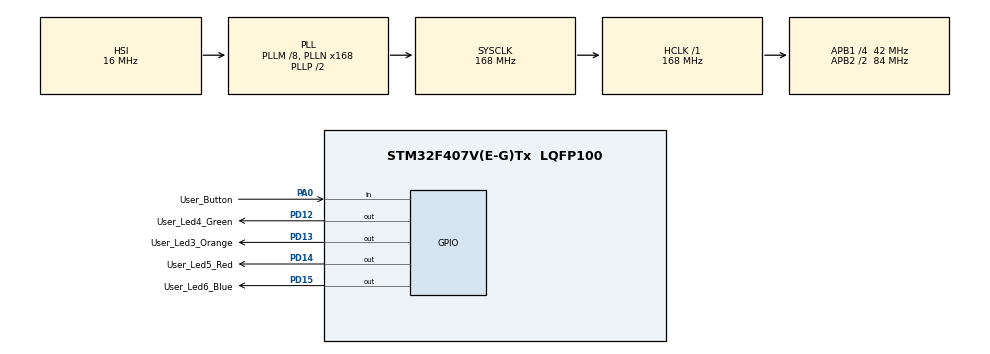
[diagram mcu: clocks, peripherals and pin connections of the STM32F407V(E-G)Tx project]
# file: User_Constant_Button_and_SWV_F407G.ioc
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Mcu.Family=STM32F4
Mcu.Name=STM32F407V(E-G)Tx
Mcu.Package=LQFP100
NVIC.PriorityGroup=NVIC_PRIORITYGROUP_0
PA0-WKUP.GPIO_Label=User_Button
PA0-WKUP.GPIO_PuPd=GPIO_PULLDOWN
PA0-WKUP.Signal=GPIO_Input
PA13.Mode=Serial_Wire
PA13.Signal=SYS_JTMS-SWDIO
PA14.Mode=Serial_Wire
PA14.Signal=SYS_JTCK-SWCLK
PD12.GPIO_Label=User_Led4_Green
PD12.GPIO_Speed=GPIO_SPEED_FREQ_MEDIUM
PD12.Signal=GPIO_Output
PD13.GPIO_Label=User_Led3_Orange
PD13.GPIO_Speed=GPIO_SPEED_FREQ_MEDIUM
PD13.Signal=GPIO_Output
PD14.GPIO_Label=User_Led5_Red
PD14.GPIO_Speed=GPIO_SPEED_FREQ_MEDIUM
PD14.Signal=GPIO_Output
PD15.GPIO_Label=User_Led6_Blue
PD15.GPIO_Speed=GPIO_SPEED_FREQ_MEDIUM
PD15.Signal=GPIO_Output
ProjectManager.HeapSize=0x200
ProjectManager.StackSize=0x400
ProjectManager.TargetToolchain=STM32CubeIDE
RCC.48MHZClocksFreq_Value=48000000
RCC.AHBFreq_Value=168000000
RCC.APB1CLKDivider=RCC_HCLK_DIV4
RCC.APB1Freq_Value=42000000
RCC.APB1TimFreq_Value=84000000
RCC.APB2CLKDivider=RCC_HCLK_DIV2
RCC.APB2Freq_Value=84000000
RCC.APB2TimFreq_Value=168000000
RCC.CortexFreq_Value=168000000
RCC.HCLKFreq_Value=168000000
RCC.HSE_VALUE=8000000
RCC.HSI_VALUE=16000000
RCC.PLLM=8
RCC.PLLN=168
RCC.PLLQ=7
RCC.SYSCLKFreq_VALUE=168000000
RCC.SYSCLKSource=RCC_SYSCLKSOURCE_PLLCLK
RCC.VCOOutputFreq_Value=336000000
board=STM32F407G-DISC1

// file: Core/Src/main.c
/* USER CODE BEGIN Header */
/**
 ******************************************************************************
 * @file           : main.c
 * @brief          : Main program body
 ******************************************************************************
 * @attention
 *
 * Copyright (c) 2025 STMicroelectronics.
 * All rights reserved.
 *
 * This software is licensed under terms that can be found in the LICENSE file
 * in the root directory of this software component.
 * If no LICENSE file comes with this software, it is provided AS-IS.
 *
 ******************************************************************************
 */
/* USER CODE END Header */
#include "main.h"

/* USER CODE BEGIN Includes */
#include "stdio.h"
/* USER CODE END Includes */

/* USER CODE BEGIN PV */
uint16_t button_counter = 0;
//uint16_t leds[] = { User_led3_Orange_Pin, User_Led4_Green_Pin, User_led6_Blue_Pin, User_Led5_Red_Pin };
uint8_t button_state;
uint8_t button_flag = 0;
/* USER CODE END PV */

void SystemClock_Config(void);
static void MX_GPIO_Init(void);

int main(void) {

	/* MCU Configuration--------------------------------------------------------*/

	/* Reset of all peripherals, Initializes the Flash interface and the Systick. */
	HAL_Init();

	/* Configure the system clock */
	SystemClock_Config();

	/* Initialize all configured peripherals */
	MX_GPIO_Init();

	/* Infinite loop */
	while (1) {

		/* USER CODE BEGIN 3 */
		/*for (i = 0; i < 4; i++) {
		 HAL_GPIO_WritePin(User_led3_Orange_GPIO_Port, leds[i], 1);
		 HAL_Delay(50);
		 HAL_GPIO_WritePin(User_led3_Orange_GPIO_Port, leds[i], 0);
		 }

		 for (i = 2; i > 0; i--) {
		 HAL_GPIO_WritePin(User_led3_Orange_GPIO_Port, leds[i], 1);
		 HAL_Delay(50);
		 HAL_GPIO_WritePin(User_led3_Orange_GPIO_Port, leds[i], 0);
		 }

		 HAL_GPIO_WritePin(User_led3_Orange_GPIO_Port, leds[0], 1);
		 HAL_Delay(50);
		 HAL_GPIO_WritePin(User_led3_Orange_GPIO_Port, leds[0], 0);
		 */

		//kalici buton
		button_state = HAL_GPIO_ReadPin(User_Button_GPIO_Port, User_Button_Pin);
		HAL_Delay(200);

		if (button_state) {
			button_counter++;
			if (button_flag == 0) {
				HAL_GPIO_WritePin(User_Led6_Blue_GPIO_Port, User_Led6_Blue_Pin,
						1);
				button_flag = 1;
			} else {
				HAL_GPIO_WritePin(User_Led6_Blue_GPIO_Port, User_Led6_Blue_Pin,
						0);
				button_flag = 0;
			}
		}

		/*
		 if (button_state) {
		 //HAL_GPIO_WritePin(User_led6_Blue_GPIO_Port, User_led6_Blue_Pin, 1);
		 button_counter++;
		 } else {
		 //HAL_GPIO_WritePin(User_led6_Blue_GPIO_Port, User_led6_Blue_Pin, 0);
		 }
		 */

		/*if (button_counter % 4 == 0) {
		 HAL_GPIO_WritePin(User_led3_Orange_GPIO_Port, User_led3_Orange_Pin,
		 1);
		 HAL_GPIO_WritePin(User_Led4_Green_GPIO_Port, User_Led4_Green_Pin,
		 0);
		 HAL_GPIO_WritePin(User_led6_Blue_GPIO_Port, User_led6_Blue_Pin, 0);
		 HAL_GPIO_WritePin(User_Led5_Red_GPIO_Port, User_Led5_Red_Pin, 0);
		 } else if (button_counter % 4 == 1) {
		 HAL_GPIO_WritePin(User_Led4_Green_GPIO_Port, User_Led4_Green_Pin,
		 1);
		 HAL_GPIO_WritePin(User_led3_Orange_GPIO_Port, User_led3_Orange_Pin,
		 1);
		 HAL_GPIO_WritePin(User_led6_Blue_GPIO_Port, User_led6_Blue_Pin, 0);
		 HAL_GPIO_WritePin(User_Led5_Red_GPIO_Port, User_Led5_Red_Pin, 0);
		 } else if (button_counter % 4 == 2) {
		 HAL_GPIO_WritePin(User_led6_Blue_GPIO_Port, User_led6_Blue_Pin, 1);
		 HAL_GPIO_WritePin(User_led3_Orange_GPIO_Port, User_led3_Orange_Pin,
		 1);
		 HAL_GPIO_WritePin(User_Led4_Green_GPIO_Port, User_Led4_Green_Pin,
		 1);
		 HAL_GPIO_WritePin(User_Led5_Red_GPIO_Port, User_Led5_Red_Pin, 0);
		 } else if (button_counter % 4 == 3) {
		 HAL_GPIO_WritePin(User_Led5_Red_GPIO_Port, User_Led5_Red_Pin, 1);
		 HAL_GPIO_WritePin(User_led3_Orange_GPIO_Port, User_led3_Orange_Pin,
		 1);
		 HAL_GPIO_WritePin(User_Led4_Green_GPIO_Port, User_Led4_Green_Pin,
		 1);
		 HAL_GPIO_WritePin(User_led6_Blue_GPIO_Port, User_led6_Blue_Pin, 1);
		 } else {
		 HAL_GPIO_WritePin(User_led3_Orange_GPIO_Port, User_led3_Orange_Pin,
		 0);
		 HAL_GPIO_WritePin(User_Led4_Green_GPIO_Port, User_Led4_Green_Pin,
		 0);
		 HAL_GPIO_WritePin(User_led6_Blue_GPIO_Port, User_led6_Blue_Pin, 0);
		 HAL_GPIO_WritePin(User_Led5_Red_GPIO_Port, User_Led5_Red_Pin, 0);
		 }

		 */

		//serial wire viewer terminalde degiskenleri gorup debug amacli kullanmak
		printf("button_counter:%d \r\n", button_counter);
		printf("button_state:%d \r\n", button_state);
		HAL_Delay(50);
		fflush(stdout);
	}
	/* USER CODE END 3 */
}

void SystemClock_Config(void) {
	RCC_OscInitTypeDef RCC_OscInitStruct = { 0 };
	RCC_ClkInitTypeDef RCC_ClkInitStruct = { 0 };

	/** Configure the main internal regulator output voltage
	 */
	__HAL_RCC_PWR_CLK_ENABLE();
	__HAL_PWR_VOLTAGESCALING_CONFIG(PWR_REGULATOR_VOLTAGE_SCALE1);

	/** Initializes the RCC Oscillators according to the specified parameters
	 * in the RCC_OscInitTypeDef structure.
	 */
	RCC_OscInitStruct.OscillatorType = RCC_OSCILLATORTYPE_HSI;
	RCC_OscInitStruct.HSIState = RCC_HSI_ON;
	RCC_OscInitStruct.HSICalibrationValue = RCC_HSICALIBRATION_DEFAULT;
	RCC_OscInitStruct.PLL.PLLState = RCC_PLL_ON;
	RCC_OscInitStruct.PLL.PLLSource = RCC_PLLSOURCE_HSI;
	RCC_OscInitStruct.PLL.PLLM = 8;
	RCC_OscInitStruct.PLL.PLLN = 168;
	RCC_OscInitStruct.PLL.PLLP = RCC_PLLP_DIV2;
	RCC_OscInitStruct.PLL.PLLQ = 7;
	if (HAL_RCC_OscConfig(&RCC_OscInitStruct) != HAL_OK) {
		Error_Handler();
	}

	/** Initializes the CPU, AHB and APB buses clocks
	 */
	RCC_ClkInitStruct.ClockType = RCC_CLOCKTYPE_HCLK | RCC_CLOCKTYPE_SYSCLK
			| RCC_CLOCKTYPE_PCLK1 | RCC_CLOCKTYPE_PCLK2;
	RCC_ClkInitStruct.SYSCLKSource = RCC_SYSCLKSOURCE_PLLCLK;
	RCC_ClkInitStruct.AHBCLKDivider = RCC_SYSCLK_DIV1;
	RCC_ClkInitStruct.APB1CLKDivider = RCC_HCLK_DIV4;
	RCC_ClkInitStruct.APB2CLKDivider = RCC_HCLK_DIV2;

	if (HAL_RCC_ClockConfig(&RCC_ClkInitStruct, FLASH_LATENCY_5) != HAL_OK) {
		Error_Handler();
	}
}

static void MX_GPIO_Init(void) {
	GPIO_InitTypeDef GPIO_InitStruct = { 0 };

	/* GPIO Ports Clock Enable */
	__HAL_RCC_GPIOA_CLK_ENABLE();
	__HAL_RCC_GPIOD_CLK_ENABLE();

	/*Configure GPIO pin Output Level */
	HAL_GPIO_WritePin(GPIOD,
			User_Led4_Green_Pin | User_Led3_Orange_Pin | User_Led5_Red_Pin
					| User_Led6_Blue_Pin, GPIO_PIN_RESET);

	/*Configure GPIO pin : User_Button_Pin */
	GPIO_InitStruct.Pin = User_Button_Pin;
	GPIO_InitStruct.Mode = GPIO_MODE_INPUT;
	GPIO_InitStruct.Pull = GPIO_PULLDOWN;
	HAL_GPIO_Init(User_Button_GPIO_Port, &GPIO_InitStruct);

	/*Configure GPIO pins : User_Led4_Green_Pin User_Led3_Orange_Pin User_Led5_Red_Pin User_Led6_Blue_Pin */
	GPIO_InitStruct.Pin = User_Led4_Green_Pin | User_Led3_Orange_Pin
			| User_Led5_Red_Pin | User_Led6_Blue_Pin;
	GPIO_InitStruct.Mode = GPIO_MODE_OUTPUT_PP;
	GPIO_InitStruct.Pull = GPIO_NOPULL;
	GPIO_InitStruct.Speed = GPIO_SPEED_FREQ_MEDIUM;
	HAL_GPIO_Init(GPIOD, &GPIO_InitStruct);

}

/* USER CODE BEGIN 4 */
//printf fonksiyonunu kullanabilmek icin gereken kod, syscalls.c dosyasindan kopyalandi, original fonksiyondaki __io_putchar yerine ITM_SendChar yazildi
int _write(int file, char *ptr, int len) {
	(void) file;
	int DataIdx;

	for (DataIdx = 0; DataIdx < len; DataIdx++) {
		ITM_SendChar(*ptr++);
	}
	return len;
}
/* USER CODE END 4 */

void Error_Handler(void) {
	__disable_irq();
	while (1) {
	}
}
